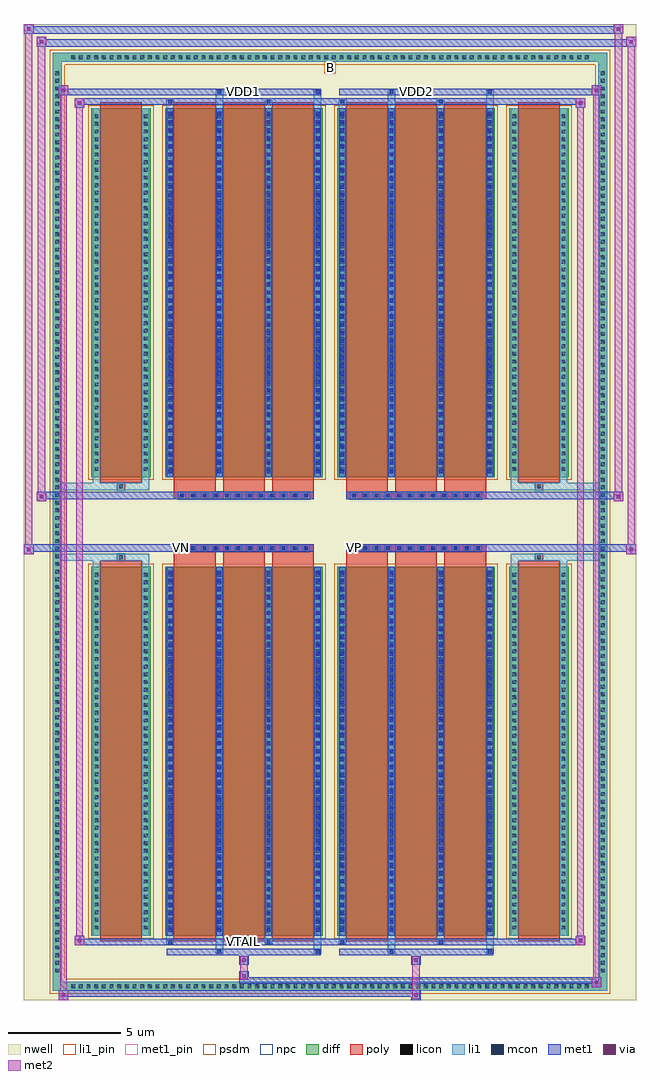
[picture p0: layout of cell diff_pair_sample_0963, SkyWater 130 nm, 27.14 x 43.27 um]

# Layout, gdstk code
import gdstk
lib = gdstk.Library(unit=1e-6, precision=5e-09)
def R(c, l, rs):  # rectangles x0, y0, x1, y1
    for r in rs: c.add(gdstk.rectangle(r[:2], r[2:], *l))
def A(c, l, x, y, w, h, nx, ny, dx, dy):  # array of equal rectangles
    R(c, l, [(x+i*dx, y+j*dy, x+i*dx+w, y+j*dy+h) for i in range(nx) for j in range(ny)])
def P(c, l, *ps):  # polygons
    for p in ps: c.add(gdstk.Polygon(p, *l))
nwell = (64, 20)
diff = (65, 20)
poly = (66, 20)
licon = (66, 44)
li1_pin = (67, 16)
li1 = (67, 20)
mcon = (67, 44)
met1_pin = (68, 16)
met1 = (68, 20)
via = (68, 44)
met2 = (69, 20)
psdm = (94, 20)
npc = (95, 20)

diff_pair_sample_0963 = lib.new_cell('diff_pair_sample_0963')
R(diff_pair_sample_0963, nwell, [(-13.57,-21.2,13.57,22.07), (-10.89,-19.39,-0.01,-0.805), (0.01,-19.39,10.89,-0.805), (-10.89,0.805,-0.01,19.39), (0.01,0.805,10.89,19.39)])
A(diff_pair_sample_0963, diff, -11.595, -20.8, 0.41, 0.41, 68, 2, 0.34, 41.19)
A(diff_pair_sample_0963, diff, -12.3, -20.095, 0.41, 0.41, 1, 118, 0, 0.34)
A(diff_pair_sample_0963, diff, 11.89, -20.095, 0.41, 0.41, 1, 118, 0, 0.34)
R(diff_pair_sample_0963, diff, [(-11.595,-20.8,11.595,-20.39), (-12.3,-20.095,-11.89,20.095), (11.89,-20.095,12.3,20.095), (-10.58,-18.345,-7.95,-1.985), (-7.31,-18.345,-0.32,-1.985), (0.32,-18.345,7.31,-1.985), (7.95,-18.345,10.58,-1.985), (-10.58,1.985,-7.95,18.345), (-7.31,1.985,-0.32,18.345), (0.32,1.985,7.31,18.345), (7.95,1.985,10.58,18.345), (-11.595,20.39,11.595,20.8)])
P(diff_pair_sample_0963, diff, [(12.3,20.8),(-12.3,20.8),(-12.3,-20.39),(-11.89,-20.39),(-11.89,20.39),(11.89,20.39),(11.89,-20.39),(-11.89,-20.39),(-12.3,-20.39),(-12.3,-20.8),(12.3,-20.8)])
A(diff_pair_sample_0963, poly, -6.92, -18.595, 1.85, 16.86, 3, 2, 2.18, 20.33)
A(diff_pair_sample_0963, poly, 0.71, -18.595, 1.85, 16.86, 3, 2, 2.18, 20.33)
A(diff_pair_sample_0963, poly, -6.92, -1.735, 1.85, 0.4, 3, 2, 2.18, 3.07)
A(diff_pair_sample_0963, poly, 0.71, -1.735, 1.85, 0.4, 3, 2, 2.18, 3.07)
A(diff_pair_sample_0963, poly, -6.73, -1.335, 0.33, 0.33, 12, 2, 0.5, 2.34)
A(diff_pair_sample_0963, poly, 0.9, -1.335, 0.33, 0.33, 12, 2, 0.5, 2.34)
R(diff_pair_sample_0963, poly, [(-10.19,-18.595,-8.34,-1.735), (8.34,-18.595,10.19,-1.735), (-9.43,-1.735,-9.1,-1.405), (-9.43,-1.735,-9.1,-1.405), (9.1,-1.735,9.43,-1.405), (9.1,-1.735,9.43,-1.405), (-6.92,-1.335,-0.71,-1.005), (0.71,-1.335,6.92,-1.005), (-6.92,1.005,-0.71,1.335), (0.71,1.005,6.92,1.335), (-9.43,1.405,-9.1,1.735), (-9.43,1.405,-9.1,1.735), (9.1,1.405,9.43,1.735), (9.1,1.405,9.43,1.735), (-10.19,1.735,-8.34,18.595), (8.34,1.735,10.19,18.595)])
A(diff_pair_sample_0963, licon, -11.475, -20.68, 0.17, 0.17, 68, 2, 0.34, 41.19)
A(diff_pair_sample_0963, licon, -12.18, -19.975, 0.17, 0.17, 1, 118, 0, 0.34)
A(diff_pair_sample_0963, licon, 12.01, -19.975, 0.17, 0.17, 1, 118, 0, 0.34)
A(diff_pair_sample_0963, licon, -10.44, -18.07, 0.17, 0.17, 1, 47, 0, 0.34)
A(diff_pair_sample_0963, licon, -8.26, -18.07, 0.17, 0.17, 1, 47, 0, 0.34)
A(diff_pair_sample_0963, licon, -7.17, -18.07, 0.17, 0.17, 4, 47, 2.18, 0.34)
A(diff_pair_sample_0963, licon, 0.46, -18.07, 0.17, 0.17, 4, 47, 2.18, 0.34)
A(diff_pair_sample_0963, licon, 8.09, -18.07, 0.17, 0.17, 1, 47, 0, 0.34)
A(diff_pair_sample_0963, licon, 10.27, -18.07, 0.17, 0.17, 1, 47, 0, 0.34)
A(diff_pair_sample_0963, licon, -6.65, -1.255, 0.17, 0.17, 12, 2, 0.5, 2.34)
A(diff_pair_sample_0963, licon, 0.98, -1.255, 0.17, 0.17, 12, 2, 0.5, 2.34)
A(diff_pair_sample_0963, licon, -10.44, 2.26, 0.17, 0.17, 1, 47, 0, 0.34)
A(diff_pair_sample_0963, licon, -8.26, 2.26, 0.17, 0.17, 1, 47, 0, 0.34)
A(diff_pair_sample_0963, licon, -7.17, 2.26, 0.17, 0.17, 4, 47, 2.18, 0.34)
A(diff_pair_sample_0963, licon, 0.46, 2.26, 0.17, 0.17, 4, 47, 2.18, 0.34)
A(diff_pair_sample_0963, licon, 8.09, 2.26, 0.17, 0.17, 1, 47, 0, 0.34)
A(diff_pair_sample_0963, licon, 10.27, 2.26, 0.17, 0.17, 1, 47, 0, 0.34)
R(diff_pair_sample_0963, licon, [(-9.35,-1.655,-9.18,-1.485), (9.18,-1.655,9.35,-1.485), (-9.35,1.485,-9.18,1.655), (9.18,1.485,9.35,1.655)])
R(diff_pair_sample_0963, li1_pin, [(-0.25,19.89,0.25,20.39)])
A(diff_pair_sample_0963, li1, -11.555, -20.76, 0.33, 0.33, 68, 2, 0.34, 41.19)
A(diff_pair_sample_0963, li1, -12.26, -20.055, 0.33, 0.33, 1, 118, 0, 0.34)
A(diff_pair_sample_0963, li1, 11.93, -20.055, 0.33, 0.33, 1, 118, 0, 0.34)
A(diff_pair_sample_0963, li1, -7.25, -18.345, 0.33, 16.36, 4, 2, 2.18, 20.33)
A(diff_pair_sample_0963, li1, 0.38, -18.345, 0.33, 16.36, 4, 2, 2.18, 20.33)
A(diff_pair_sample_0963, li1, -7.17, -18.17, 0.17, 0.17, 4, 45, 2.18, 0.36)
A(diff_pair_sample_0963, li1, -7.17, -18.17, 0.17, 16.01, 4, 2, 2.18, 20.33)
A(diff_pair_sample_0963, li1, 0.46, -18.17, 0.17, 0.17, 4, 45, 2.18, 0.36)
A(diff_pair_sample_0963, li1, 0.46, -18.17, 0.17, 16.01, 4, 2, 2.18, 20.33)
A(diff_pair_sample_0963, li1, -10.52, -18.15, 0.33, 0.33, 1, 47, 0, 0.34)
A(diff_pair_sample_0963, li1, -8.34, -18.15, 0.33, 0.33, 1, 47, 0, 0.34)
A(diff_pair_sample_0963, li1, -7.25, -18.15, 0.33, 0.33, 4, 47, 2.18, 0.34)
A(diff_pair_sample_0963, li1, 0.38, -18.15, 0.33, 0.33, 4, 47, 2.18, 0.34)
A(diff_pair_sample_0963, li1, 8.01, -18.15, 0.33, 0.33, 1, 47, 0, 0.34)
A(diff_pair_sample_0963, li1, 10.19, -18.15, 0.33, 0.33, 1, 47, 0, 0.34)
A(diff_pair_sample_0963, li1, -6.73, -1.335, 0.33, 0.33, 12, 2, 0.5, 2.34)
A(diff_pair_sample_0963, li1, 0.9, -1.335, 0.33, 0.33, 12, 2, 0.5, 2.34)
A(diff_pair_sample_0963, li1, -7.17, 2.16, 0.17, 0.17, 4, 45, 2.18, 0.36)
A(diff_pair_sample_0963, li1, 0.46, 2.16, 0.17, 0.17, 4, 45, 2.18, 0.36)
A(diff_pair_sample_0963, li1, -10.52, 2.18, 0.33, 0.33, 1, 47, 0, 0.34)
A(diff_pair_sample_0963, li1, -8.34, 2.18, 0.33, 0.33, 1, 47, 0, 0.34)
A(diff_pair_sample_0963, li1, -7.25, 2.18, 0.33, 0.33, 4, 47, 2.18, 0.34)
A(diff_pair_sample_0963, li1, 0.38, 2.18, 0.33, 0.33, 4, 47, 2.18, 0.34)
A(diff_pair_sample_0963, li1, 8.01, 2.18, 0.33, 0.33, 1, 47, 0, 0.34)
A(diff_pair_sample_0963, li1, 10.19, 2.18, 0.33, 0.33, 1, 47, 0, 0.34)
R(diff_pair_sample_0963, li1, [(-12.3,-20.8,-11.89,-20.39), (-12.3,-20.8,-11.89,-20.39), (-11.89,-20.8,11.89,-20.39), (11.89,-20.8,12.3,-20.39), (11.89,-20.8,12.3,-20.39), (-12.3,-20.39,-11.89,20.39), (11.89,-20.39,12.3,20.39), (-5.07,-19.15,-4.74,-18.345), (-4.99,-19.15,-4.82,-18.98), (-0.71,-19.15,-0.38,-18.345), (-0.63,-19.15,-0.46,-18.98), (2.56,-19.15,2.89,-18.345), (2.64,-19.15,2.81,-18.98), (6.92,-19.15,7.25,-18.345), (7,-19.15,7.17,-18.98), (-7.25,-18.72,-6.92,-18.345), (-7.17,-18.72,-7,-18.55), (-2.89,-18.72,-2.56,-18.345), (-2.81,-18.72,-2.64,-18.55), (0.38,-18.72,0.71,-18.345), (0.46,-18.72,0.63,-18.55), (4.74,-18.72,5.07,-18.345), (4.82,-18.72,4.99,-18.55), (-10.52,-18.345,-10.19,-1.985), (-8.34,-18.345,-8.01,-1.985), (8.01,-18.345,8.34,-1.985), (10.19,-18.345,10.52,-1.985), (-10.52,-1.985,-10.19,-1.405), (-8.34,-1.985,-8.01,-1.405), (8.01,-1.985,8.34,-1.405), (10.19,-1.985,10.52,-1.405), (-12.3,-1.735,-9.43,-1.405), (-10.52,-1.735,-9.43,-1.405), (-9.43,-1.735,-9.1,-1.405), (-9.1,-1.735,-8.01,-1.405), (8.01,-1.735,9.1,-1.405), (9.1,-1.735,9.43,-1.405), (9.1,-1.735,12.3,-1.405), (9.43,-1.735,10.52,-1.405), (-12.3,1.405,-9.43,1.735), (-10.52,1.405,-9.43,1.735), (-10.52,1.405,-10.19,1.985), (-9.43,1.405,-9.1,1.735), (-9.1,1.405,-8.01,1.735), (-8.34,1.405,-8.01,1.985), (8.01,1.405,9.1,1.735), (8.01,1.405,8.34,1.985), (9.1,1.405,9.43,1.735), (9.1,1.405,12.3,1.735), (9.43,1.405,10.52,1.735), (10.19,1.405,10.52,1.985), (-10.52,1.985,-10.19,18.345), (-8.34,1.985,-8.01,18.345), (8.01,1.985,8.34,18.345), (10.19,1.985,10.52,18.345), (-7.25,18.345,-6.92,18.72), (-5.07,18.345,-4.74,19.15), (-2.89,18.345,-2.56,18.72), (-0.71,18.345,-0.38,19.15), (0.38,18.345,0.71,18.72), (2.56,18.345,2.89,19.15), (4.74,18.345,5.07,18.72), (6.92,18.345,7.25,19.15), (-7.17,18.55,-7,18.72), (-2.81,18.55,-2.64,18.72), (0.46,18.55,0.63,18.72), (4.82,18.55,4.99,18.72), (-4.99,18.98,-4.82,19.15), (-0.63,18.98,-0.46,19.15), (2.64,18.98,2.81,19.15), (7,18.98,7.17,19.15), (-12.3,20.39,-11.89,20.8), (-12.3,20.39,-11.89,20.8), (-11.89,20.39,11.89,20.8), (11.89,20.39,12.3,20.8), (11.89,20.39,12.3,20.8)])
A(diff_pair_sample_0963, mcon, -7.17, -18.17, 0.17, 0.17, 4, 45, 2.18, 0.36)
A(diff_pair_sample_0963, mcon, 0.46, -18.17, 0.17, 0.17, 4, 45, 2.18, 0.36)
A(diff_pair_sample_0963, mcon, -6.65, -1.255, 0.17, 0.17, 12, 2, 0.5, 2.34)
A(diff_pair_sample_0963, mcon, 0.98, -1.255, 0.17, 0.17, 12, 2, 0.5, 2.34)
A(diff_pair_sample_0963, mcon, -7.17, 2.16, 0.17, 0.17, 4, 45, 2.18, 0.36)
A(diff_pair_sample_0963, mcon, 0.46, 2.16, 0.17, 0.17, 4, 45, 2.18, 0.36)
R(diff_pair_sample_0963, mcon, [(-4.99,-19.15,-4.82,-18.98), (-0.63,-19.15,-0.46,-18.98), (2.64,-19.15,2.81,-18.98), (7,-19.15,7.17,-18.98), (-7.17,-18.72,-7,-18.55), (-2.81,-18.72,-2.64,-18.55), (0.46,-18.72,0.63,-18.55), (4.82,-18.72,4.99,-18.55), (-7.17,18.55,-7,18.72), (-2.81,18.55,-2.64,18.72), (0.46,18.55,0.63,18.72), (4.82,18.55,4.99,18.72), (-4.99,18.98,-4.82,19.15), (-0.63,18.98,-0.46,19.15), (2.64,18.98,2.81,19.15), (7,18.98,7.17,19.15)])
R(diff_pair_sample_0963, met1_pin, [(-3.95,-18.76,-3.68,-18.49), (-6.7,-1.295,-6.43,-1.025), (0.93,-1.295,1.2,-1.025), (-3.95,18.94,-3.68,19.21), (3.68,18.94,3.95,19.21)])
A(diff_pair_sample_0963, met1, -7.23, -18.345, 0.29, 16.36, 4, 2, 2.18, 20.33)
A(diff_pair_sample_0963, met1, 0.4, -18.345, 0.29, 16.36, 4, 2, 2.18, 20.33)
A(diff_pair_sample_0963, met1, -7.23, -18.23, 0.29, 0.29, 4, 45, 2.18, 0.36)
A(diff_pair_sample_0963, met1, 0.4, -18.23, 0.29, 0.29, 4, 45, 2.18, 0.36)
A(diff_pair_sample_0963, met1, -6.71, -1.315, 0.29, 0.29, 12, 2, 0.5, 2.34)
A(diff_pair_sample_0963, met1, 0.92, -1.315, 0.29, 0.29, 12, 2, 0.5, 2.34)
A(diff_pair_sample_0963, met1, -7.23, 2.1, 0.29, 0.29, 4, 45, 2.18, 0.36)
A(diff_pair_sample_0963, met1, 0.4, 2.1, 0.29, 0.29, 4, 45, 2.18, 0.36)
R(diff_pair_sample_0963, met1, [(-12.03,-21.2,-11.6,-20.77), (3.6,-21.2,4.03,-20.77), (-12.03,-21.06,4.03,-20.77), (11.6,-20.63,12.03,-20.2), (-4.03,-20.49,12.03,-20.2), (-4.03,-20.35,-3.6,-19.92), (-4.03,-19.64,-3.6,-19.21), (3.6,-19.64,4.03,-19.21), (-7.23,-19.21,-0.4,-18.92), (-5.05,-19.21,-4.76,-18.92), (-0.69,-19.21,-0.4,-18.92), (0.4,-19.21,7.23,-18.92), (2.58,-19.21,2.87,-18.92), (6.94,-19.21,7.23,-18.92), (-11.32,-18.78,-10.89,-18.35), (-11.32,-18.78,-7.23,-18.49), (-7.23,-18.78,-6.94,-18.49), (-7.23,-18.78,-0.4,-18.49), (-2.87,-18.78,-2.58,-18.49), (-0.4,-18.78,0.4,-18.49), (0.4,-18.78,0.69,-18.49), (0.4,-18.78,7.23,-18.49), (4.76,-18.78,5.05,-18.49), (7.23,-18.78,11.32,-18.49), (10.89,-18.78,11.32,-18.35), (-13.57,-1.435,-13.14,-1.005), (13.14,-1.435,13.57,-1.005), (-13.57,-1.335,-0.71,-1.005), (-6.92,-1.335,-0.71,-1.005), (0.71,-1.335,6.92,-1.005), (0.71,-1.335,13.57,-1.005), (-13,0.905,-12.57,1.335), (12.57,0.905,13,1.335), (-13,1.005,-6.92,1.335), (-6.92,1.005,-0.71,1.335), (0.71,1.005,6.92,1.335), (6.92,1.005,13,1.335), (-11.32,18.35,-10.89,18.78), (10.89,18.35,11.32,18.78), (-11.32,18.49,-7.23,18.78), (-7.23,18.49,-6.94,18.78), (-7.23,18.49,-0.4,18.78), (-2.87,18.49,-2.58,18.78), (-0.4,18.49,0.4,18.78), (0.4,18.49,0.69,18.78), (0.4,18.49,7.23,18.78), (4.76,18.49,5.05,18.78), (7.23,18.49,11.32,18.78), (-12.03,18.92,-11.6,19.35), (-12.03,18.92,-7.23,19.21), (-7.23,18.92,-0.4,19.21), (-5.05,18.92,-4.76,19.21), (-0.69,18.92,-0.4,19.21), (0.4,18.92,7.23,19.21), (2.58,18.92,2.87,19.21), (6.94,18.92,7.23,19.21), (7.23,18.92,12.03,19.21), (11.6,18.92,12.03,19.35), (-13,21.07,-12.57,21.5), (-13,21.07,-10.89,21.4), (-10.89,21.07,10.89,21.4), (10.89,21.07,13.57,21.4), (13.14,21.07,13.57,21.5), (-13.57,21.64,-13.14,22.07), (-13.57,21.64,-10.89,21.97), (-10.89,21.64,10.89,21.97), (10.89,21.64,13,21.97), (12.57,21.64,13,22.07)])
R(diff_pair_sample_0963, via, [(-11.89,-21.06,-11.74,-20.91), (3.74,-21.06,3.89,-20.91), (11.74,-20.49,11.89,-20.34), (-3.89,-20.21,-3.74,-20.06), (-3.89,-19.5,-3.74,-19.35), (3.74,-19.5,3.89,-19.35), (-11.18,-18.64,-11.03,-18.49), (11.03,-18.64,11.18,-18.49), (-13.43,-1.295,-13.28,-1.145), (13.28,-1.295,13.43,-1.145), (-12.86,1.045,-12.71,1.195), (12.71,1.045,12.86,1.195), (-11.18,18.49,-11.03,18.64), (11.03,18.49,11.18,18.64), (-11.89,19.06,-11.74,19.21), (11.74,19.06,11.89,19.21), (-12.86,21.21,-12.71,21.36), (13.28,21.21,13.43,21.36), (-13.43,21.78,-13.28,21.93), (12.71,21.78,12.86,21.93)])
R(diff_pair_sample_0963, met2, [(-12.03,-21.2,-11.6,-20.77), (-11.96,-21.2,-11.67,19.35), (-11.67,-21.2,-11.6,-20.77), (-11.98,-21.15,-11.65,-20.82), (3.65,-21.15,3.98,-20.82), (3.65,-20.82,3.98,-19.59), (11.6,-20.63,12.03,-20.2), (11.67,-20.63,11.96,19.35), (11.96,-20.63,12.03,-20.2), (11.65,-20.58,11.98,-20.25), (-3.98,-20.3,-3.65,-19.97), (-3.98,-19.97,-3.65,-19.59), (-3.98,-19.59,-3.65,-19.26), (3.65,-19.59,3.98,-19.26), (-11.32,-18.78,-10.89,-18.35), (-11.25,-18.78,-10.96,18.78), (-10.96,-18.78,-10.89,-18.35), (10.89,-18.78,11.32,-18.35), (10.96,-18.78,11.25,18.78), (11.25,-18.78,11.32,-18.35), (-11.27,-18.73,-10.94,-18.4), (10.94,-18.73,11.27,-18.4), (-13.57,-1.435,-13.14,-1.005), (-13.52,-1.435,-13.19,22.07), (-13.19,-1.435,-13.14,-1.005), (13.14,-1.435,13.57,-1.005), (13.19,-1.435,13.52,21.5), (13.52,-1.435,13.57,-1.005), (-13.52,-1.385,-13.19,-1.055), (13.19,-1.385,13.52,-1.055), (-13,0.905,-12.57,1.335), (-12.95,0.905,-12.62,21.5), (-12.62,0.905,-12.57,1.335), (12.57,0.905,13,1.335), (12.62,0.905,12.95,22.07), (12.95,0.905,13,1.335), (-12.95,0.955,-12.62,1.285), (12.62,0.955,12.95,1.285), (-11.32,18.35,-10.89,18.78), (-10.96,18.35,-10.89,18.78), (10.89,18.35,11.32,18.78), (11.25,18.35,11.32,18.78), (-11.27,18.4,-10.94,18.73), (10.94,18.4,11.27,18.73), (-12.03,18.92,-11.6,19.35), (-11.67,18.92,-11.6,19.35), (11.6,18.92,12.03,19.35), (11.96,18.92,12.03,19.35), (-11.98,18.97,-11.65,19.3), (11.65,18.97,11.98,19.3), (-13,21.07,-12.57,21.5), (-12.62,21.07,-12.57,21.5), (13.14,21.07,13.57,21.5), (13.52,21.07,13.57,21.5), (-12.95,21.12,-12.62,21.45), (13.19,21.12,13.52,21.45), (-13.57,21.64,-13.14,22.07), (-13.19,21.64,-13.14,22.07), (12.57,21.64,13,22.07), (12.95,21.64,13,22.07), (-13.52,21.69,-13.19,22.02), (12.62,21.69,12.95,22.02)])
R(diff_pair_sample_0963, psdm, [(-10.71,-18.475,-7.82,-1.855), (-7.44,-18.475,-0.19,-1.855), (0.19,-18.475,7.44,-1.855), (7.82,-18.475,10.71,-1.855), (-10.71,1.855,-7.82,18.475), (-7.44,1.855,-0.19,18.475), (0.19,1.855,7.44,18.475), (7.82,1.855,10.71,18.475)])
P(diff_pair_sample_0963, psdm, [(12.43,20.93),(-12.43,20.93),(-12.43,-20.26),(-11.76,-20.26),(-11.76,20.26),(11.76,20.26),(11.76,-20.26),(-11.76,-20.26),(-12.43,-20.26),(-12.43,-20.93),(12.43,-20.93)])
A(diff_pair_sample_0963, npc, -6.75, -1.355, 0.37, 0.37, 12, 2, 0.5, 2.34)
A(diff_pair_sample_0963, npc, 0.88, -1.355, 0.37, 0.37, 12, 2, 0.5, 2.34)
R(diff_pair_sample_0963, npc, [(-9.45,-1.755,-9.08,-1.385), (9.08,-1.755,9.45,-1.385), (-6.75,-1.355,-5.88,-0.985), (-6.75,-1.355,-5.88,-0.985), (-6.25,-1.355,-5.38,-0.985), (-6.25,-1.355,-5.38,-0.985), (-5.75,-1.355,-4.88,-0.985), (-5.75,-1.355,-4.88,-0.985), (-5.25,-1.355,-4.38,-0.985), (-5.25,-1.355,-4.38,-0.985), (-4.75,-1.355,-3.88,-0.985), (-4.75,-1.355,-3.88,-0.985), (-4.25,-1.355,-3.38,-0.985), (-4.25,-1.355,-3.38,-0.985), (-3.75,-1.355,-2.88,-0.985), (-3.75,-1.355,-2.88,-0.985), (-3.25,-1.355,-2.38,-0.985), (-3.25,-1.355,-2.38,-0.985), (-2.75,-1.355,-1.88,-0.985), (-2.75,-1.355,-1.88,-0.985), (-2.25,-1.355,-1.38,-0.985), (-2.25,-1.355,-1.38,-0.985), (-1.75,-1.355,-0.88,-0.985), (-1.75,-1.355,-0.88,-0.985), (0.88,-1.355,1.75,-0.985), (0.88,-1.355,1.75,-0.985), (1.38,-1.355,2.25,-0.985), (1.38,-1.355,2.25,-0.985), (1.88,-1.355,2.75,-0.985), (1.88,-1.355,2.75,-0.985), (2.38,-1.355,3.25,-0.985), (2.38,-1.355,3.25,-0.985), (2.88,-1.355,3.75,-0.985), (2.88,-1.355,3.75,-0.985), (3.38,-1.355,4.25,-0.985), (3.38,-1.355,4.25,-0.985), (3.88,-1.355,4.75,-0.985), (3.88,-1.355,4.75,-0.985), (4.38,-1.355,5.25,-0.985), (4.38,-1.355,5.25,-0.985), (4.88,-1.355,5.75,-0.985), (4.88,-1.355,5.75,-0.985), (5.38,-1.355,6.25,-0.985), (5.38,-1.355,6.25,-0.985), (5.88,-1.355,6.75,-0.985), (5.88,-1.355,6.75,-0.985), (-6.75,0.985,-5.88,1.355), (-6.75,0.985,-5.88,1.355), (-6.25,0.985,-5.38,1.355), (-6.25,0.985,-5.38,1.355), (-5.75,0.985,-4.88,1.355), (-5.75,0.985,-4.88,1.355), (-5.25,0.985,-4.38,1.355), (-5.25,0.985,-4.38,1.355), (-4.75,0.985,-3.88,1.355), (-4.75,0.985,-3.88,1.355), (-4.25,0.985,-3.38,1.355), (-4.25,0.985,-3.38,1.355), (-3.75,0.985,-2.88,1.355), (-3.75,0.985,-2.88,1.355), (-3.25,0.985,-2.38,1.355), (-3.25,0.985,-2.38,1.355), (-2.75,0.985,-1.88,1.355), (-2.75,0.985,-1.88,1.355), (-2.25,0.985,-1.38,1.355), (-2.25,0.985,-1.38,1.355), (-1.75,0.985,-0.88,1.355), (-1.75,0.985,-0.88,1.355), (0.88,0.985,1.75,1.355), (0.88,0.985,1.75,1.355), (1.38,0.985,2.25,1.355), (1.38,0.985,2.25,1.355), (1.88,0.985,2.75,1.355), (1.88,0.985,2.75,1.355), (2.38,0.985,3.25,1.355), (2.38,0.985,3.25,1.355), (2.88,0.985,3.75,1.355), (2.88,0.985,3.75,1.355), (3.38,0.985,4.25,1.355), (3.38,0.985,4.25,1.355), (3.88,0.985,4.75,1.355), (3.88,0.985,4.75,1.355), (4.38,0.985,5.25,1.355), (4.38,0.985,5.25,1.355), (4.88,0.985,5.75,1.355), (4.88,0.985,5.75,1.355), (5.38,0.985,6.25,1.355), (5.38,0.985,6.25,1.355), (5.88,0.985,6.75,1.355), (5.88,0.985,6.75,1.355), (-9.45,1.385,-9.08,1.755), (9.08,1.385,9.45,1.755)])
diff_pair_sample_0963.add(gdstk.Label('VTAIL', (-3.815,-18.625), layer=68, texttype=5))
diff_pair_sample_0963.add(gdstk.Label('VN', (-6.565,-1.16), layer=68, texttype=5))
diff_pair_sample_0963.add(gdstk.Label('VP', (1.065,-1.16), layer=68, texttype=5))
diff_pair_sample_0963.add(gdstk.Label('B', (0,20.14), layer=67, texttype=5))
diff_pair_sample_0963.add(gdstk.Label('VDD2', (3.815,19.075), layer=68, texttype=5))
diff_pair_sample_0963.add(gdstk.Label('VDD1', (-3.815,19.075), layer=68, texttype=5))

lib.write_gds('diff_pair_sample_0963.gds')
